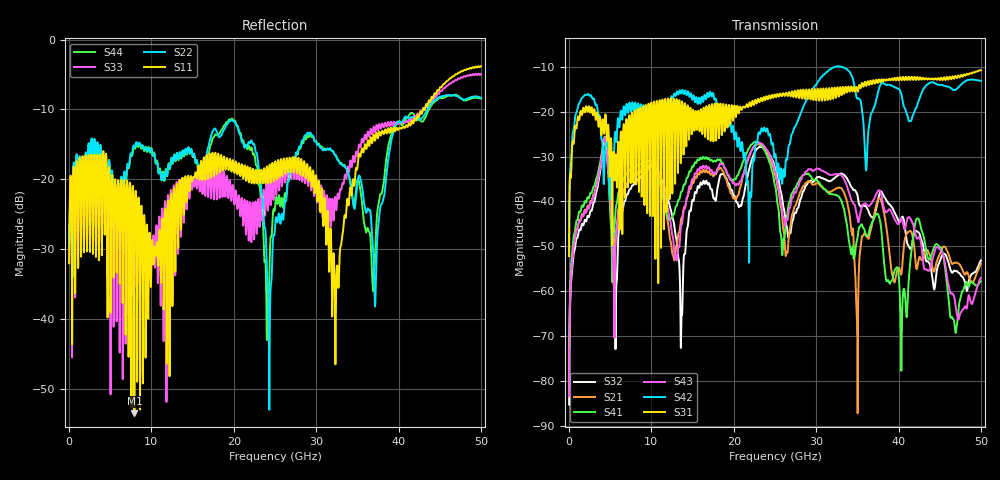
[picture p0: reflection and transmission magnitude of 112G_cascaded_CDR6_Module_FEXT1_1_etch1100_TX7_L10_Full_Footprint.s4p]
! Created Tue Feb 26 11:18:44 2019
# hz S ma R 50
! 4 Port Network Data from SP1.SP block
! freq  magS11  angS11  magS12  angS12  magS13  angS13  magS14  angS14
!  magS21  angS21  magS22  angS22  magS23  angS23  magS24  angS24
!  magS31  angS31  magS32  angS32  magS33  angS33  magS34  angS34
!  magS41  angS41  magS42  angS42  magS43  angS43  magS44  angS44
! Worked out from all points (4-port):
!   5000 points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, 10 MHz to 50 GHz, reference 50 ohm
!   strongest paths, dB at 10 MHz, 12.51 GHz, 25.01 GHz, 37.51 GHz, 50 GHz:
!     S31: -52.2, -28.4, -16.2, -13.4, -10.7
!     S42: -52.2, -16.7, -29.6, -15.7, -13.1
!     S43: -83.4, -47.3, -33.3, -37.6, -57.1
!     S41: -81.4, -43.5, -36.5, -42.8, -57.8
!     S21: -83.1, -51.4, -34.1, -39.5, -54.0
!     S32: -85.3, -43.1, -32.5, -39.6, -53.2
!   lowest |S11| = -53.5 dB at 7.93 GHz (marker M1), VSWR 1.00, Z = 50.1 + j0.192 ohm
!   |S11| at or under -10 dB: start of sweep to 42.95 GHz; 43.11473 GHz to 43.20008 GHz (85.35 MHz wide, 0.198 % of centre)
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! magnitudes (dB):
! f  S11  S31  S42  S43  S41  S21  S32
! 10 MHz  -32.0  -52.2  -52.2  -83.4  -81.4  -83.1  -85.3
! 4.27 GHz  -20.4  -24.9  -33.5  -26.1  -25.8  -26.1  -26.4
! 5.69 GHz  -22.8  -29.6  -25.6  -48.0  -41.2  -46.8  -62.0
! 7.93 GHz  -53.5  -20.9  -19.1  -34.0  -32.3  -34.3  -35.9
! 13.64 GHz  -25.0  -20.9  -15.8  -45.2  -37.8  -43.7  -65.9
! 24.32 GHz  -18.1  -16.4  -25.1  -29.5  -31.2  -30.3  -29.5
! 50 GHz  -3.8  -10.7  -13.1  -57.1  -57.8  -54.0  -53.2
